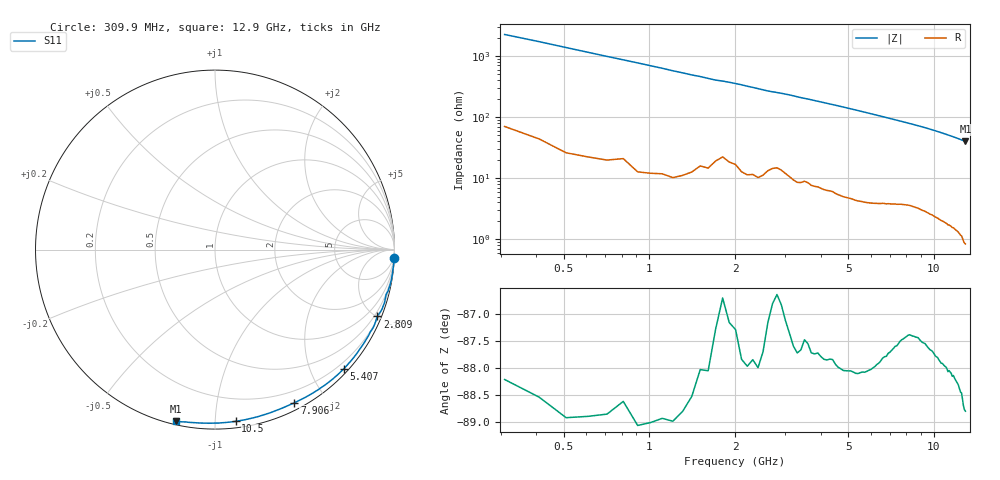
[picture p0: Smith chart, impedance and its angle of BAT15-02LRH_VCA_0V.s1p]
! Infineon Technologies  Discrete & RF Semiconductors
! BAT15-02LRH
! VCA = 0 V
! One-Port S-Parameters
# Hz  S  MA  R  50
!f  S11
!Hz  Mag  Ang
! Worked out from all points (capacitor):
!   127 points, 309.9 MHz to 12.9 GHz, reference 50 ohm
!   read as one part to ground: C = 228 fF near 309.9 MHz
!   lowest |Z| = 39.9 ohm at 12.9 GHz (marker M1)
!   S11 on the Smith chart (normalised r, x): 309.9 MHz: 1, -45; 2.809 GHz: 0.30, -5.04; 5.407 GHz: 0.08, -2.56; 7.906 GHz: 0.07, -1.64; 10.5 GHz: 0.04, -1.13; 12.9 GHz: 0.02, -0.80
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3.0985e8  0.9986 -2.5
9.0955e8  0.9979 -7.4
1.2094e9  0.9969 -10.0
1.6092e9  0.9922 -13.3
1.70915e9  0.9885 -14.1
1.90905e9  0.987 -15.3
2.10895e9  0.9891 -16.9
2.4088e9  0.9884 -19.4
2.6087e9  0.9822 -21.2
2.8086e9  0.9779 -22.4
3.2084e9  0.9822 -25.3
3.4083e9  0.9816 -27.0
3.50825e9  0.9797 -27.7
4.10795e9  0.98 -32.4
4.6077e9  0.9794 -36.3
5.10745e9  0.9782 -40.3
5.4073e9  0.9778 -42.7
6.007e9  0.9749 -47.6
6.6067e9  0.9702 -52.4
7.10645e9  0.9667 -56.4
7.90605e9  0.9611 -62.6
8.2059e9  0.9595 -64.9
9.0055e9  0.9596 -71.1
9.8051e9  0.9611 -77.4
1.050475e10  0.9638 -83.1
1.14043e10  0.9669 -90.5
1.2004e10  0.97 -95.4
1.290355e10  0.9797 -102.9
